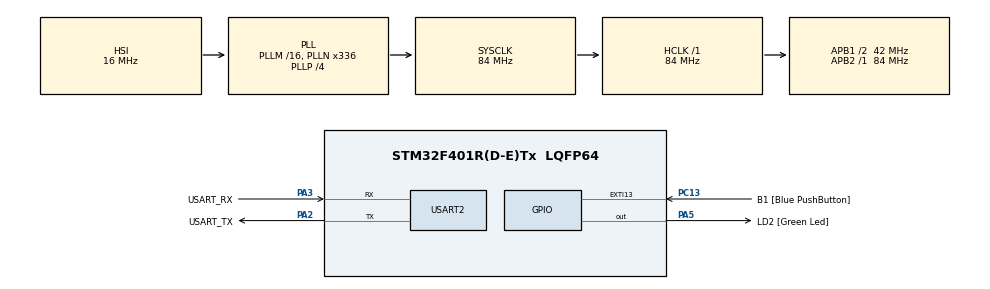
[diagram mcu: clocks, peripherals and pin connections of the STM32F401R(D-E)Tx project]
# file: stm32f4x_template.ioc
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Mcu.Family=STM32F4
Mcu.Name=STM32F401R(D-E)Tx
Mcu.Package=LQFP64
NVIC.EXTI15_10_IRQn=true\:0\:0\:false\:false\:true\:true\:true
NVIC.PriorityGroup=NVIC_PRIORITYGROUP_0
PA13.GPIO_Label=TMS
PA13.Mode=Serial_Wire
PA13.Signal=SYS_JTMS-SWDIO
PA14.GPIO_Label=TCK
PA14.Mode=Serial_Wire
PA14.Signal=SYS_JTCK-SWCLK
PA2.GPIO_Label=USART_TX
PA2.GPIO_Mode=GPIO_MODE_AF_PP
PA2.GPIO_PuPd=GPIO_NOPULL
PA2.GPIO_Speed=GPIO_SPEED_FREQ_LOW
PA2.Mode=Asynchronous
PA2.Signal=USART2_TX
PA3.GPIO_Label=USART_RX
PA3.GPIO_Mode=GPIO_MODE_AF_PP
PA3.GPIO_PuPd=GPIO_NOPULL
PA3.GPIO_Speed=GPIO_SPEED_FREQ_LOW
PA3.Mode=Asynchronous
PA3.Signal=USART2_RX
PA5.GPIO_Label=LD2 [Green Led]
PA5.GPIO_Mode=GPIO_MODE_OUTPUT_PP
PA5.GPIO_PuPd=GPIO_NOPULL
PA5.GPIO_Speed=GPIO_SPEED_FREQ_LOW
PA5.Signal=GPIO_Output
PB3.GPIO_Label=SWO
PB3.Signal=SYS_JTDO-SWO
PC13-ANTI_TAMP.GPIO_Label=B1 [Blue PushButton]
PC13-ANTI_TAMP.GPIO_ModeDefaultEXTI=GPIO_MODE_IT_FALLING
PC13-ANTI_TAMP.GPIO_PuPd=GPIO_NOPULL
PC13-ANTI_TAMP.Signal=GPXTI13
PC14-OSC32_IN.Mode=LSE-External-Oscillator
PC14-OSC32_IN.Signal=RCC_OSC32_IN
PC15-OSC32_OUT.Mode=LSE-External-Oscillator
PC15-OSC32_OUT.Signal=RCC_OSC32_OUT
PH0\ -\ OSC_IN.Mode=HSE-External-Clock-Source
PH0\ -\ OSC_IN.Signal=RCC_OSC_IN
PH1\ -\ OSC_OUT.Mode=HSE-External-Clock-Source
PH1\ -\ OSC_OUT.Signal=RCC_OSC_OUT
ProjectManager.HeapSize=0x200
ProjectManager.StackSize=0x400
ProjectManager.TargetToolchain=STM32CubeIDE
RCC.48MHZClocksFreq_Value=48000000
RCC.AHBFreq_Value=84000000
RCC.APB1CLKDivider=RCC_HCLK_DIV2
RCC.APB1Freq_Value=42000000
RCC.APB1TimFreq_Value=84000000
RCC.APB2Freq_Value=84000000
RCC.APB2TimFreq_Value=84000000
RCC.CortexFreq_Value=84000000
RCC.HCLKFreq_Value=84000000
RCC.HSE_VALUE=8000000
RCC.HSI_VALUE=16000000
RCC.PLLN=336
RCC.PLLP=RCC_PLLP_DIV4
RCC.PLLQ=7
RCC.SYSCLKFreq_VALUE=84000000
RCC.SYSCLKSource=RCC_SYSCLKSOURCE_PLLCLK
RCC.VCOOutputFreq_Value=336000000
USART2.VirtualMode=VM_ASYNC
board=NUCLEO-F401RE

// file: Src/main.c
/* USER CODE BEGIN Header */
/**
  ******************************************************************************
  * @file           : main.c
  * @brief          : Main program body
  ******************************************************************************
  * @attention
  *
  * <h2><center>&copy; Copyright (c) 2019 STMicroelectronics.
  * All rights reserved.</center></h2>
  *
  * This software component is licensed by ST under BSD 3-Clause license,
  * the "License"; You may not use this file except in compliance with the
  * License. You may obtain a copy of the License at:
  *                        opensource.org/licenses/BSD-3-Clause
  *
  ******************************************************************************
  */
/* USER CODE END Header */

#include "main.h"

/* USER CODE BEGIN Includes */
#include <stdio.h>
/* USER CODE END Includes */

/* USER CODE BEGIN PD */
#ifdef __GNUC__
/* With GCC/RAISONANCE, small printf (option LD Linker->Libraries->Small printf
   set to 'Yes') calls __io_putchar() */
#define PUTCHAR_PROTOTYPE int __io_putchar(int ch)
#else
#define PUTCHAR_PROTOTYPE int fputc(int ch, FILE *f)
#endif /* __GNUC__ */
/* USER CODE END PD */

UART_HandleTypeDef huart2;

void SystemClock_Config(void);
static void MX_GPIO_Init(void);
static void MX_USART2_UART_Init(void);

/* USER CODE BEGIN 0 */
/**
  * @brief  Retargets the C library printf function to the USART.
  * @param  None
  * @retval None
  */
PUTCHAR_PROTOTYPE
{
  /* Place your implementation of fputc here */
  /* e.g. write a character to the USART2 and Loop until the end of transmission */
  HAL_UART_Transmit(&huart2, (uint8_t *)&ch, 1, 0xFFFF);

  return ch;
}

volatile uint32_t ticks;
volatile uint32_t in1=0;
volatile uint32_t in1_0=0;
volatile uint32_t in1_1=0;
volatile uint32_t statoIn1=0;
volatile uint32_t start_push_tick = 0;
volatile uint32_t end_push_tick = 0;
volatile uint32_t push_state = 0;

// return the system clock as milliseconds
uint32_t millis (void)
{
   return ticks;
}

void delay_ms (uint32_t t)
{
  uint32_t start, end;
  start = millis();
  end = start + t;
  if (start < end) {
  	while ((millis() >= start) && (millis() < end)) {
  	  // do nothing
  	}
  } else {
    while ((millis() >= start) || (millis() < end)) {
      // do nothing
    };
  }
}

/* USER CODE END 0 */

int main(void)
{

  /* MCU Configuration--------------------------------------------------------*/

  /* Reset of all peripherals, Initializes the Flash interface and the Systick. */
  HAL_Init();

  /* Configure the system clock */
  SystemClock_Config();

  /* Initialize all configured peripherals */
  MX_GPIO_Init();
  MX_USART2_UART_Init();

  /* Infinite loop */
  while (1)
  {

  }
}

void SystemClock_Config(void)
{
  RCC_OscInitTypeDef RCC_OscInitStruct = {0};
  RCC_ClkInitTypeDef RCC_ClkInitStruct = {0};

  /** Configure the main internal regulator output voltage
  */
  __HAL_RCC_PWR_CLK_ENABLE();
  __HAL_PWR_VOLTAGESCALING_CONFIG(PWR_REGULATOR_VOLTAGE_SCALE2);
  /** Initializes the CPU, AHB and APB busses clocks
  */
  RCC_OscInitStruct.OscillatorType = RCC_OSCILLATORTYPE_HSI;
  RCC_OscInitStruct.HSIState = RCC_HSI_ON;
  RCC_OscInitStruct.HSICalibrationValue = RCC_HSICALIBRATION_DEFAULT;
  RCC_OscInitStruct.PLL.PLLState = RCC_PLL_ON;
  RCC_OscInitStruct.PLL.PLLSource = RCC_PLLSOURCE_HSI;
  RCC_OscInitStruct.PLL.PLLM = 16;
  RCC_OscInitStruct.PLL.PLLN = 336;
  RCC_OscInitStruct.PLL.PLLP = RCC_PLLP_DIV4;
  RCC_OscInitStruct.PLL.PLLQ = 7;
  if (HAL_RCC_OscConfig(&RCC_OscInitStruct) != HAL_OK)
  {
    Error_Handler();
  }
  /** Initializes the CPU, AHB and APB busses clocks
  */
  RCC_ClkInitStruct.ClockType = RCC_CLOCKTYPE_HCLK|RCC_CLOCKTYPE_SYSCLK
                              |RCC_CLOCKTYPE_PCLK1|RCC_CLOCKTYPE_PCLK2;
  RCC_ClkInitStruct.SYSCLKSource = RCC_SYSCLKSOURCE_PLLCLK;
  RCC_ClkInitStruct.AHBCLKDivider = RCC_SYSCLK_DIV1;
  RCC_ClkInitStruct.APB1CLKDivider = RCC_HCLK_DIV2;
  RCC_ClkInitStruct.APB2CLKDivider = RCC_HCLK_DIV1;

  if (HAL_RCC_ClockConfig(&RCC_ClkInitStruct, FLASH_LATENCY_2) != HAL_OK)
  {
    Error_Handler();
  }
}

static void MX_USART2_UART_Init(void)
{

  huart2.Instance = USART2;
  huart2.Init.BaudRate = 115200;
  huart2.Init.WordLength = UART_WORDLENGTH_8B;
  huart2.Init.StopBits = UART_STOPBITS_1;
  huart2.Init.Parity = UART_PARITY_NONE;
  huart2.Init.Mode = UART_MODE_TX_RX;
  huart2.Init.HwFlowCtl = UART_HWCONTROL_NONE;
  huart2.Init.OverSampling = UART_OVERSAMPLING_16;
  if (HAL_UART_Init(&huart2) != HAL_OK)
  {
    Error_Handler();
  }

}

static void MX_GPIO_Init(void)
{
  GPIO_InitTypeDef GPIO_InitStruct = {0};

  /* GPIO Ports Clock Enable */
  __HAL_RCC_GPIOC_CLK_ENABLE();
  __HAL_RCC_GPIOH_CLK_ENABLE();
  __HAL_RCC_GPIOA_CLK_ENABLE();
  __HAL_RCC_GPIOB_CLK_ENABLE();

  /*Configure GPIO pin Output Level */
  HAL_GPIO_WritePin(LD2_GPIO_Port, LD2_Pin, GPIO_PIN_RESET);

  /*Configure GPIO pin : B1_Pin */
  GPIO_InitStruct.Pin = B1_Pin;
  GPIO_InitStruct.Mode = GPIO_MODE_IT_FALLING;
  GPIO_InitStruct.Pull = GPIO_NOPULL;
  HAL_GPIO_Init(B1_GPIO_Port, &GPIO_InitStruct);

  /*Configure GPIO pin : LD2_Pin */
  GPIO_InitStruct.Pin = LD2_Pin;
  GPIO_InitStruct.Mode = GPIO_MODE_OUTPUT_PP;
  GPIO_InitStruct.Pull = GPIO_NOPULL;
  GPIO_InitStruct.Speed = GPIO_SPEED_FREQ_LOW;
  HAL_GPIO_Init(LD2_GPIO_Port, &GPIO_InitStruct);

  /* EXTI interrupt init*/
  HAL_NVIC_SetPriority(EXTI15_10_IRQn, 0, 0);
  HAL_NVIC_EnableIRQ(EXTI15_10_IRQn);

}

void Error_Handler(void)
{
}

/************************ (C) COPYRIGHT STMicroelectronics *****END OF FILE****/
